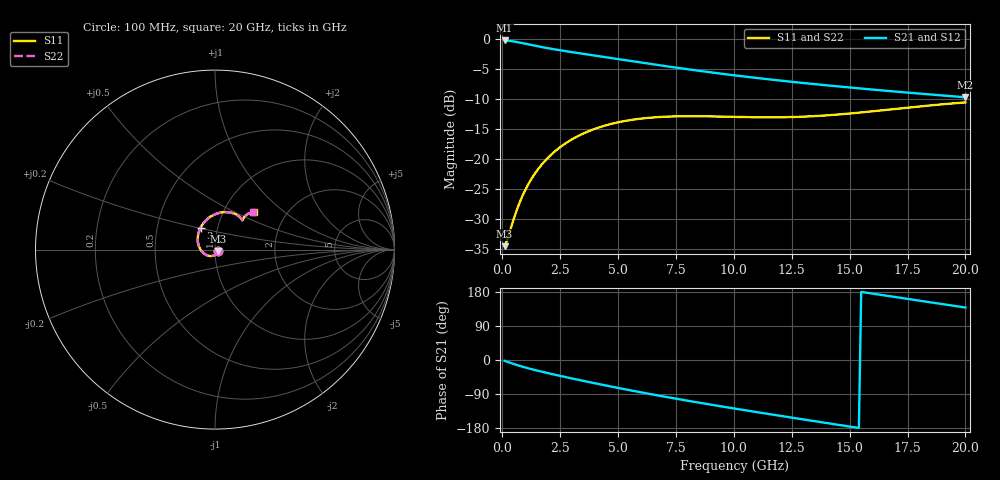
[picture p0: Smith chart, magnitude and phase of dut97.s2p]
! Touchstone file exported from HFSS 2023.1.0
!  File:  D:/Users/fzz/RDL_TSV/temp_RDL_TSV_97_1778748827.aedt
!  Generated:  5:02:20 %x4E0B%x5348  5%x6708 14, 2026
!  Design:  RDL_TSV
!  Project:  temp_RDL_TSV_97_1778748827
!  Setup:  Setup1
!  Solution:  Sweep
! Variables:
!  dtsv = 24.74um
!  hbump = 3um
!  htsv = 71.4um
!  ldown = 459.92um
!  lrdl = 223.96um
!  p = 40
!  p1 = 55.04um
!  rhole = 10um
!  subl = 2275.6um
!  t = 450um
!  tdown = 4.82um
!  trdl = 3.03um
!  viad = 10um
!  wdown = 10.55um
!  wrdl = 12.14um
!  xbump = 18um
# GHz S MA R 50.000000
! Terminal data exported
! Port[1] = TM1_1_T1
! Port[2] = TM1_4_T1
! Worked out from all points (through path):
!   200 points, 100 MHz to 20 GHz, reference 50 ohm
!   highest |S21| = -0.17 dB at 100 MHz (marker M1); lowest = -9.7 dB at 20 GHz (marker M2)
!   group delay of S21, straight-line fit = 29.2 ps
!   lowest |S11| = -34.5 dB at 100 MHz (marker M3), VSWR 1.04, Z = 51.7 - j0.814 ohm
!   |S11| at or under -10 dB: start of sweep to end of sweep
!   |S22| runs from -34.5 to -10.5 dB; largest |S21 - S12| = 3.6e-14
!   S11 on the Smith chart (normalised r, x): 100 MHz: 1.03, -0.02; 3 GHz: 0.83, +0.21; 20 GHz: 1.38, +0.63
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0.1  0.01884 -24.7  0.981 -2.2  0.981 -2.2  0.01884 -24.7
! Gamma 0 0 0 0
! Port Impedance 50 0 50 0
0.2  0.02095 -47.0  0.9782 -4.4  0.9782 -4.4  0.02095 -47.0
0.5  0.03203 -96.4  0.9617 -10.7  0.9617 -10.7  0.03204 -96.3
0.7  0.0412 -119.5  0.9464 -14.6  0.9464 -14.6  0.0412 -119.5
1  0.05581 -146.6  0.9208 -19.9  0.9208 -19.9  0.05579 -146.5
1.3  0.07067 -167.8  0.8953 -24.8  0.8953 -24.8  0.07061 -167.7
1.7  0.09016 169.9  0.8641 -30.9  0.8641 -30.9  0.09004 169.9
2.1  0.1088 152.3  0.8367 -36.5  0.8367 -36.5  0.1086 152.4
3  0.1464 123.5  0.7843 -48.6  0.7843 -48.6  0.146 123.5
3.5  0.1642 111.5  0.7582 -55.1  0.7582 -55.1  0.1637 111.5
4.2  0.1852 97.8  0.7236 -63.9  0.7236 -63.9  0.1846 97.8
5  0.2036 85.3  0.6859 -73.7  0.6859 -73.7  0.2029 85.3
5.9  0.2175 74.1  0.6459 -84.3  0.6459 -84.3  0.2167 74.2
6.8  0.2254 65.4  0.6088 -94.5  0.6088 -94.5  0.2245 65.5
8.4  0.2289 54.7  0.5508 -111.6  0.5508 -111.6  0.2279 54.7
10.1  0.2257 48.7  0.4999 -128.8  0.4999 -128.8  0.2246 48.8
11.7  0.2239 46.9  0.4604 -144.4  0.4604 -144.4  0.2229 47.1
13.4  0.2287 47.3  0.4254 -160.6  0.4254 -160.6  0.2278 47.5
15  0.2409 48.1  0.3973 -175.6  0.3973 -175.6  0.2402 48.2
16.7  0.2598 47.9  0.3714 168.6  0.3714 168.6  0.2592 48.0
18.4  0.2806 46.4  0.3484 153.0  0.3484 153.0  0.28 46.5
20  0.2984 44.0  0.3292 138.5  0.3292 138.5  0.2978 44.1
